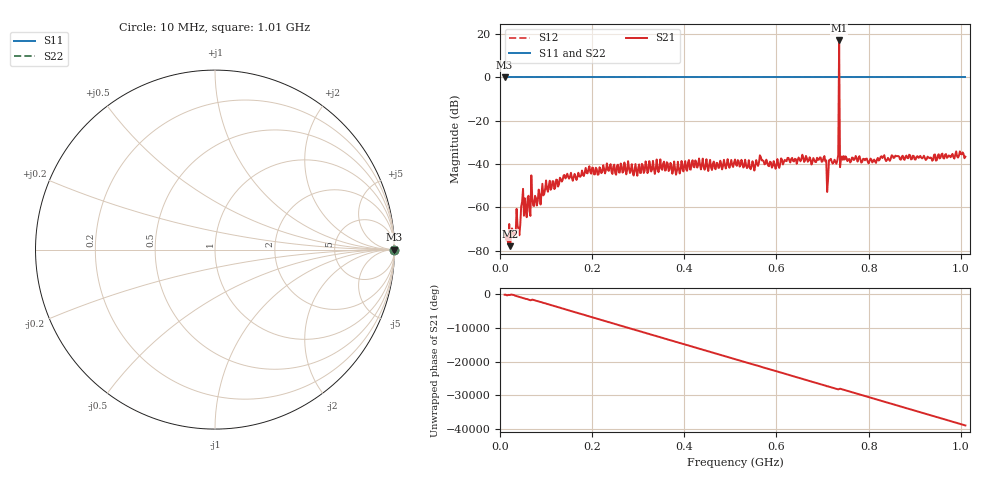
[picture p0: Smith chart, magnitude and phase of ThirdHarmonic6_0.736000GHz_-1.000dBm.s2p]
! 8/16/2025 12:38:09 AM
! C:\ANRITSUVNA\TEMP\TEMP.S2P
! CHANNEL.1
! TR.MEASUREMENT
! RAW.DATA
! RF.CORRECTION.OFF
! AVERAGING.OFF
! IF.BANDWIDTH: 5KHZ
! SWEEPTYPE:  FREQ.SWEEP(Linear)
! Reference Plane Port Info
! PORT:  PORT1  PORT2
! DISTANCE:  0  m  0  m
! TIME:  0  s  0  s
! PHASE.OFFSET:  0  deg.  0  deg.
! LOSS:  0  dB  0  dB
! REF.LOSS:  0  dB  0  dB
! REF.FREQ:  0  Hz  0  Hz
! Power Info
! POWER:  -20  dBm  -20  dBm
! EFF.POWER:  -20  dBm  -20  dBm
! SOURCE.ATTEN:  0  dB  0  dB
! TEST.ATTEN:  0  dB  0  dB
# GHZ S RI R 50.0
! FREQ.GHZ  S11RE  S11IM  S21RE  S21IM  S12RE  S12IM  S22RE  S22IM
!; PortSelection: Port_12
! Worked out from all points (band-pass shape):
!   501 points, 10 MHz to 1.01 GHz, reference 50 ohm
!   highest |S21| = 16.98 dB at 736 MHz (marker M1); lowest = -77.9 dB at 22 MHz (marker M2)
!   |S21| within 3 dB of the highest: 735.8866 MHz to 736.1027 MHz (216 kHz wide, 0.0294 % of centre)
!   lowest |S11| = 0.0 dB at 10 MHz (marker M3)
!   |S11| at or under -10 dB: nowhere
!   |S22| runs from 0.0 to 0.0 dB; largest |S21 - S12| = 6.6
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0.01  1 0  -0.000144 -0.000247  1 0  1 0
0.022  1 0  -0.000118 4.78e-05  1 0  1 0
0.042  1 0  0.000154 -0.000168  1 0  1 0
0.05  1 0  0.00246 0.00105  1 0  1 0
0.062  1 0  -0.00172 -0.000694  1 0  1 0
0.064  1 0  -0.000337 0.000747  1 0  1 0
0.076  1 0  0.00181 0.000399  1 0  1 0
0.104  1 0  0.00158 -0.00166  1 0  1 0
0.178  1 0  -0.00677 -0.00206  1 0  1 0
0.344  1 0  0.00648 -3.3e-05  1 0  1 0
0.51  1 0  -0.0127 0.000977  1 0  1 0
0.678  1 0  0.00327 -0.0106  1 0  1 0
0.704  1 0  0.00998 -0.0116  1 0  1 0
0.71  1 0  0.00213 0.000761  1 0  1 0
0.718  1 0  -0.0044 0.0124  1 0  1 0
0.73  1 0  0.0102 -0.000271  1 0  1 0
0.732  1 0  0.00313 -0.0115  1 0  1 0
0.736  1 0  3.33 -6.228  1 0  1 0
0.74  1 0  0.01 -0.00807  1 0  1 0
0.742  1 0  -0.00896 -0.012  1 0  1 0
0.844  1 0  -0.00201 0.0125  1 0  1 0
1.01  1 0  0.00398 -0.0142  1 0  1 0
